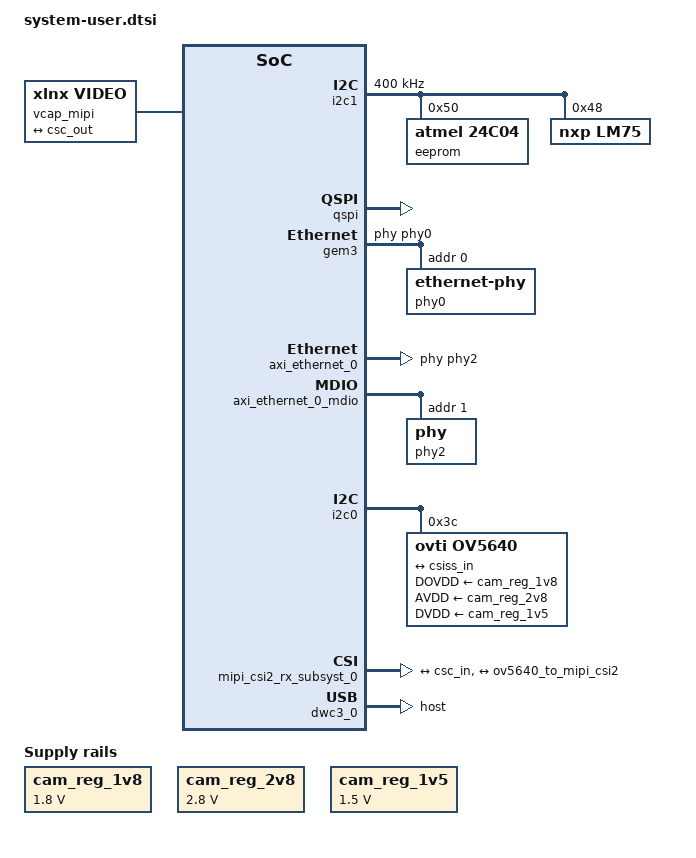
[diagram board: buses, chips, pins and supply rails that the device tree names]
/include/ "system-conf.dtsi"
/ {
	misc_clk_a: misc_clk_a {
		#clock-cells = <0>;
		clock-frequency = <12000000>;
		compatible = "fixed-clock";
	};
	cam_reg_1v8: regulator-1v8 {
		compatible = "regulator-fixed";
		regulator-name = "1v8";
		regulator-min-microvolt = <1800000>;
		regulator-max-microvolt = <1800000>;
	};
	cam_reg_2v8: regulator-1v8 {
		compatible = "regulator-fixed";
		regulator-name = "2v8";
		regulator-min-microvolt = <2800000>;
		regulator-max-microvolt = <2800000>;
	};
	cam_reg_1v5: regulator-1v8 {
		compatible = "regulator-fixed";
		regulator-name = "1v5";
		regulator-min-microvolt = <1500000>;
		regulator-max-microvolt = <1500000>;
	};

};

&i2c1 {
        clock-frequency = <400000>;
        eeprom@50{
                compatible = "atmel,24c04";
                reg = <0x50>;
                pagesize = <16>;
        };
};

&i2c1 {
        clock-frequency = <400000>;
        lm75@48 {
                compatible = "nxp,lm75";
                reg = <0x48>;
        };
};

&qspi {
        status = "okay";
};

&flash0 {
	is-dual = <0>;
	num-cs = <1>;
	spi-rx-bus-width = <4>;
        spi-tx-bus-width = <4>;
        compatible ="jedec,spi-nor";
        reg= <0x0>;
};

&gem3 {
	phy-handle = <&phy0>;
    local-mac-address = [00 0a 35 00 22 01];
	phy0: ethernet-phy@c {
		reg = <0x0>;
	};
};

&axi_ethernet_0 {
	phy-handle = <&phy2>;
};

&axi_ethernet_0_mdio {
	phy2: phy@2 {
		device_type = "ethernet-phy";
		reg = <1>;
	};
};

&i2c0 {
	ov5640: camera@3c {
		compatible = "ovti,ov5640";
		reg = <0x3c>;
		clocks = <&misc_clk_a>;
		clock-names = "xclk";
		/* rotation = <180>; */
		DOVDD-supply = <&cam_reg_1v8>;
		AVDD-supply = <&cam_reg_2v8>;
		DVDD-supply = <&cam_reg_1v5>;
		port {
			/* MIPI CSI-2 bus endpoint */
			ov5640_to_mipi_csi2: endpoint {
				remote-endpoint = <&csiss_in>;
				clock-lanes = <0>;
				data-lanes = <1 2>;
			};
		};
	};
};


&mipi_csi2_rx_subsyst_0{
	compatible = "xlnx,mipi-csi2-rx-subsystem-2.0";
	csiss_ports: ports {
		#address-cells = <1>;
		#size-cells = <0>;
		csiss_port0: port@0 {
			reg = <0>;

			xlnx,video-format = <0>;
			xlnx,video-width = <8>;

			csiss_out: endpoint {
				remote-endpoint = <&csc_in>;
			};
		};
		csiss_port1: port@1 {
			reg = <1>;

			xlnx,video-format = <0>;
			xlnx,video-width = <8>;

			csiss_in: endpoint {
				data-lanes = <1 2>;
				remote-endpoint = <&ov5640_to_mipi_csi2>;
			};
		};
	};
};

&v_proc_ss_0{
	compatible = "xlnx,v-vpss-csc";
	reset-gpios = <&gpio 86 1>;
	csc_ports: ports {
		#address-cells = <1>;
		#size-cells = <0>;
		csc_port0: port@0 {
			reg = <0>;
			xlnx,video-format = <3>;
			xlnx,video-width = <8>;
			csc_in: endpoint {
				remote-endpoint = <&csiss_out>;
			};
		};
		csc_port1: port@1 {
			reg = <1>;
			xlnx,video-format = <3>;
			xlnx,video-width = <8>;
			csc_out: endpoint {
				remote-endpoint = <&vcap_in>;
			};
		};
	};
};


&v_frmbuf_wr_0 {
	compatible = "xlnx,axi-frmbuf-wr-v2.1";
	reset-gpios = <&gpio 85 1>;
};

&amba_pl {
	vcap_mipi {
		compatible = "xlnx,video";
		dma-names = "port0";
		dmas = <&v_frmbuf_wr_0 0>;
		vcap_ports: ports {
			#address-cells = <1>;
			#size-cells = <0>;
			vcap_port: port@0 {
				direction = "input";
				reg = <0>;
				vcap_in: endpoint {
					remote-endpoint = <&csc_out>;
				};
			};
		};
	};
	/* The FPD thermal diode is remotely located near the APUs */
	temp_apu: thermal-sensor@ffa50a14 {
		compatible = "xlnx,zynqmp-pssysmon-temp";
		#thermal-sensor-cells = <0>;
		reg = <0x0 0xffa50a14 0x0 0x2>;
		type = "temp-sensor";
		id = <0>;
	};
	/* The thermal diode is located in the PL SysMon unit */
	temp_pl: thermal-sensor@ffa50c00 {
		compatible = "xlnx,zynqmp-pssysmon-temp";
		#thermal-sensor-cells = <0>;
		reg = <0x0 0xffa50c00 0x0 0x2>;
		type = "temp-sensor";
		id = <0>;
	};
	/* The LPD thermal diode is located in the PS SysMon unit near the RPU */
	temp_ps: thermal-sensor@ffa50800 {
		compatible = "xlnx,zynqmp-pssysmon-temp";
		#thermal-sensor-cells = <0>;
		reg = <0x0 0xffa50800 0x0 0x2>;
		type = "temp-sensor";
		id = <0>;
	};
};

/* SD */
&sdhci1 {
	disable-wp;
	no-1-8-v;
};

/* USB  */
&dwc3_0 {
    status = "okay";
    dr_mode = "host";
};

/* USB  */
&dwc3_0 {
    status = "okay";
    dr_mode = "host";
};


/*
 * Hardware PWM (Phase B): the fan is driven by the axi_pwm PL peripheral
 * (DTG label &fan_pwm @ 0x80090000). Bind the pl-pwm-fan driver and add the
 * cooling-device properties via this override. The PL clock is 200 MHz, so a
 * period of 8000 cycles = 25 kHz. active-low sets CTRL.POLARITY = 1 (physical 0
 * on AA11 = fan on). This node is the cooling device the thermal maps reference.
 */
&fan_pwm {
	compatible = "user,axi-pwm-fan";
	pwm-period-cycles = <8000>;   /* 200 MHz / 25 kHz */
	active-low;                   /* CTRL.POLARITY = 1 (physical 0 = fan on) */
	/*
	 * Per-mille duty per cooling state (index 0..7), tuned by ear:
	 * 7% is the quiet, self-starting floor; near-silent until ~85 C then
	 * ramps hard (noise acceptable once that hot).
	 *   state:  0     1    2    3     4     5     6     7
	 *   duty:  off   7%   8%   9%   10%   30%   60%  100%
	 */
	cooling-levels = <0 70 80 90 100 300 600 1000>;
	#cooling-cells = <2>;
};

/ {

	/*
	 * Tuned fan curve (hardware PWM). step_wise ramps the fan one state per
	 * trip as temperature rises; each trip binds the state band <n-1 n>, so
	 * the fan settles at the top state of the highest crossed trip:
	 *   <50 C   off        50-70 C  7%      70-78 C  8%     78-85 C  9%
	 *   85-88 C 10%        88-91 C  30%     91-94 C  60%    >94 C   100%
	 * (duty values live in &fan_pwm cooling-levels). 2 C hysteresis on every
	 * trip so it doesn't flip PWM values. 95 C critical. Hottest sensor wins.
	 */
	thermal-zones {
		apu_thermal: apu-thermal {
			polling-delay = <1000>;
			polling-delay-passive = <500>;
			thermal-sensors = <&temp_apu>;
			trips {
				apu_crit: apu_crit { temperature = <95000>; hysteresis = <2000>; type = "critical"; };
				apu_t0: apu_t0 { temperature = <50000>; hysteresis = <2000>; type = "active"; };
				apu_t1: apu_t1 { temperature = <70000>; hysteresis = <2000>; type = "active"; };
				apu_t2: apu_t2 { temperature = <78000>; hysteresis = <2000>; type = "active"; };
				apu_t3: apu_t3 { temperature = <85000>; hysteresis = <2000>; type = "active"; };
				apu_t4: apu_t4 { temperature = <88000>; hysteresis = <2000>; type = "active"; };
				apu_t5: apu_t5 { temperature = <91000>; hysteresis = <2000>; type = "active"; };
				apu_t6: apu_t6 { temperature = <94000>; hysteresis = <2000>; type = "active"; };
			};
			cooling-maps {
				apu_m0 { trip = <&apu_t0>; cooling-device = <&fan_pwm 0 1>; };
				apu_m1 { trip = <&apu_t1>; cooling-device = <&fan_pwm 1 2>; };
				apu_m2 { trip = <&apu_t2>; cooling-device = <&fan_pwm 2 3>; };
				apu_m3 { trip = <&apu_t3>; cooling-device = <&fan_pwm 3 4>; };
				apu_m4 { trip = <&apu_t4>; cooling-device = <&fan_pwm 4 5>; };
				apu_m5 { trip = <&apu_t5>; cooling-device = <&fan_pwm 5 6>; };
				apu_m6 { trip = <&apu_t6>; cooling-device = <&fan_pwm 6 7>; };
			};
		};
		pl_thermal: pl-thermal {
			polling-delay = <1000>;
			polling-delay-passive = <500>;
			thermal-sensors = <&temp_pl>;
			trips {
				pl_crit: pl_crit { temperature = <95000>; hysteresis = <2000>; type = "critical"; };
				pl_t0: pl_t0 { temperature = <50000>; hysteresis = <2000>; type = "active"; };
				pl_t1: pl_t1 { temperature = <70000>; hysteresis = <2000>; type = "active"; };
				pl_t2: pl_t2 { temperature = <78000>; hysteresis = <2000>; type = "active"; };
				pl_t3: pl_t3 { temperature = <85000>; hysteresis = <2000>; type = "active"; };
				pl_t4: pl_t4 { temperature = <88000>; hysteresis = <2000>; type = "active"; };
				pl_t5: pl_t5 { temperature = <91000>; hysteresis = <2000>; type = "active"; };
				pl_t6: pl_t6 { temperature = <94000>; hysteresis = <2000>; type = "active"; };
			};
			cooling-maps {
				pl_m0 { trip = <&pl_t0>; cooling-device = <&fan_pwm 0 1>; };
				pl_m1 { trip = <&pl_t1>; cooling-device = <&fan_pwm 1 2>; };
				pl_m2 { trip = <&pl_t2>; cooling-device = <&fan_pwm 2 3>; };
				pl_m3 { trip = <&pl_t3>; cooling-device = <&fan_pwm 3 4>; };
				pl_m4 { trip = <&pl_t4>; cooling-device = <&fan_pwm 4 5>; };
				pl_m5 { trip = <&pl_t5>; cooling-device = <&fan_pwm 5 6>; };
				pl_m6 { trip = <&pl_t6>; cooling-device = <&fan_pwm 6 7>; };
			};
		};
		ps_thermal: ps-thermal {
			polling-delay = <1000>;
			polling-delay-passive = <500>;
			thermal-sensors = <&temp_ps>;
			trips {
				ps_crit: ps_crit { temperature = <95000>; hysteresis = <2000>; type = "critical"; };
				ps_t0: ps_t0 { temperature = <50000>; hysteresis = <2000>; type = "active"; };
				ps_t1: ps_t1 { temperature = <70000>; hysteresis = <2000>; type = "active"; };
				ps_t2: ps_t2 { temperature = <78000>; hysteresis = <2000>; type = "active"; };
				ps_t3: ps_t3 { temperature = <85000>; hysteresis = <2000>; type = "active"; };
				ps_t4: ps_t4 { temperature = <88000>; hysteresis = <2000>; type = "active"; };
				ps_t5: ps_t5 { temperature = <91000>; hysteresis = <2000>; type = "active"; };
				ps_t6: ps_t6 { temperature = <94000>; hysteresis = <2000>; type = "active"; };
			};
			cooling-maps {
				ps_m0 { trip = <&ps_t0>; cooling-device = <&fan_pwm 0 1>; };
				ps_m1 { trip = <&ps_t1>; cooling-device = <&fan_pwm 1 2>; };
				ps_m2 { trip = <&ps_t2>; cooling-device = <&fan_pwm 2 3>; };
				ps_m3 { trip = <&ps_t3>; cooling-device = <&fan_pwm 3 4>; };
				ps_m4 { trip = <&ps_t4>; cooling-device = <&fan_pwm 4 5>; };
				ps_m5 { trip = <&ps_t5>; cooling-device = <&fan_pwm 5 6>; };
				ps_m6 { trip = <&ps_t6>; cooling-device = <&fan_pwm 6 7>; };
			};
		};
	};
};



